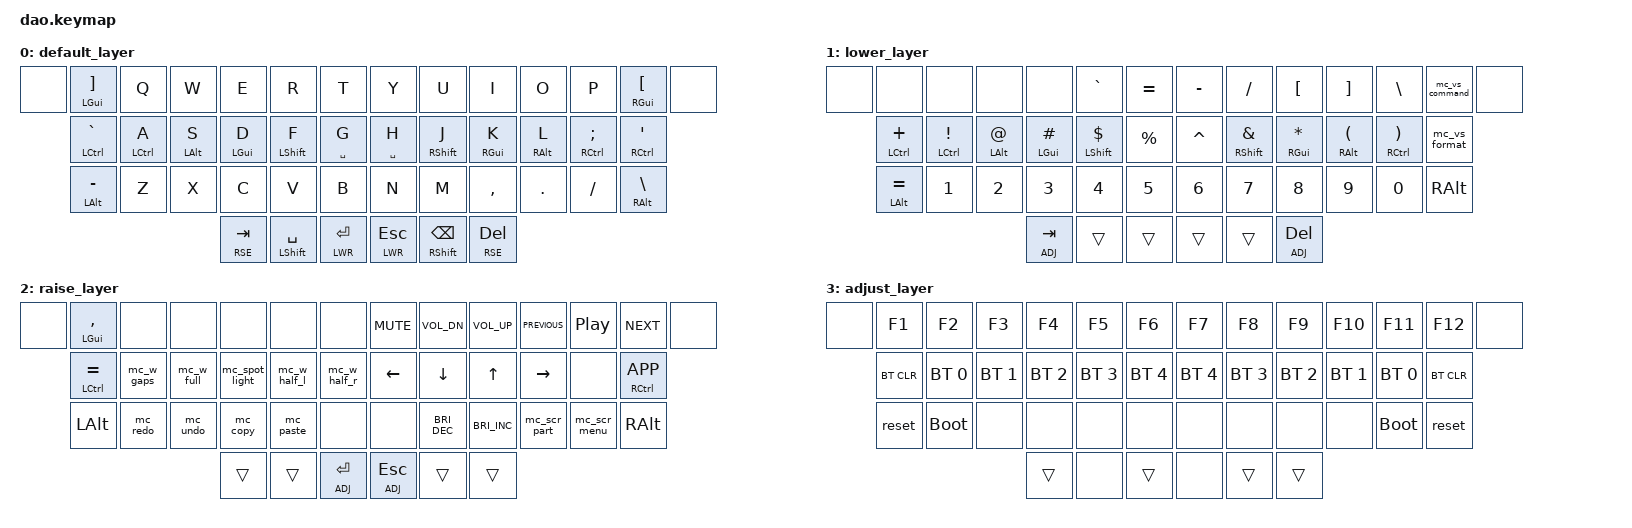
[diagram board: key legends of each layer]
/*
 * Copyright (c) 2021 Rafael Yumagulov
 *
 * SPDX-License-Identifier: MIT
 * vim: syntax=c
 */

#include <behaviors.dtsi>
#include <dt-bindings/zmk/keys.h>
#include <dt-bindings/zmk/bt.h>

#define DEF 0
#define LWR 1
#define RSE 2
#define ADJ 3

&lt { quick_tap_ms = <200>; };
&mt { quick_tap_ms = <200>; };

/ {
        macros {
                mc_copy: copy {
                        label = "copy_macro";
                        compatible = "zmk,behavior-macro";
                        #binding-cells = <0>;
                        bindings 
                                = <&macro_press &kp LGUI>
                                , <&macro_tap &kp C>
                                , <&macro_release &kp LGUI>
                                ;
                };
                mc_paste: paste {
                        label = "paste_macro";
                        compatible = "zmk,behavior-macro";
                        #binding-cells = <0>;
                        bindings 
                                = <&macro_press &kp LGUI>
                                , <&macro_tap &kp V>
                                , <&macro_release &kp LGUI>
                                ;
                };
                mc_undo: undo {
                        label = "undo_macro";
                        compatible = "zmk,behavior-macro";
                        #binding-cells = <0>;
                        bindings 
                                = <&macro_press &kp LGUI>
                                , <&macro_tap &kp Z>
                                , <&macro_release &kp LGUI>
                                ;
                };
                mc_redo: redo {
                        label = "redo_macro";
                        compatible = "zmk,behavior-macro";
                        #binding-cells = <0>;
                        bindings 
                                = <&macro_press &kp LGUI>
                                , <&macro_press &kp LSHIFT>
                                , <&macro_tap &kp Z>
                                , <&macro_release &kp LSHIFT>
                                , <&macro_release &kp LGUI>
                                ;
                };
                mc_spot_light: spot_light {
                        label = "spot_light";
                        compatible = "zmk,behavior-macro";
                        #binding-cells = <0>;
                        bindings 
                                = <&macro_press &kp LALT>
                                , <&macro_tap &kp D>
                                , <&macro_release &kp LALT>
                                ;
                };
                mc_vs_command: vs_command {
                        label = "vs_code_command";
                        compatible = "zmk,behavior-macro";
                        #binding-cells = <0>;
                        bindings 
                                = <&macro_press &kp LGUI>
                                , <&macro_tap &kp P>
                                , <&macro_release &kp LGUI>
                                ;
                };
                mc_vs_format: vs_format {
                        label = "vs_code_format";
                        compatible = "zmk,behavior-macro";
                        #binding-cells = <0>;
                        bindings 
                                = <&macro_press &kp LALT>
                                , <&macro_press &kp LSHIFT>
                                , <&macro_tap &kp F>
                                , <&macro_release &kp LSHIFT>
                                , <&macro_release &kp LALT>
                                ;
                };
                mc_w_half_l: w_half_l {
                        label = "move_win_half_l";
                        compatible = "zmk,behavior-macro";
                        #binding-cells = <0>;
                        bindings
                                = <&macro_press &kp LCTRL>
                                , <&macro_press &kp LALT>
                                , <&macro_tap &kp LEFT>
                                , <&macro_release &kp LALT>
                                , <&macro_release &kp LCTRL>
                                ;
                };
                mc_w_half_r: w_half_r {
                        label = "move_win_half_r";
                        compatible = "zmk,behavior-macro";
                        #binding-cells = <0>;
                        bindings
                                = <&macro_press &kp LCTRL>
                                , <&macro_press &kp LALT>
                                , <&macro_tap &kp RIGHT>
                                , <&macro_release &kp LALT>
                                , <&macro_release &kp LCTRL>
                                ;
                };
                mc_w_full: w_full {
                        label = "move_win_full";
                        compatible = "zmk,behavior-macro";
                        #binding-cells = <0>;
                        bindings
                                = <&macro_press &kp LCTRL>
                                , <&macro_press &kp LALT>
                                , <&macro_tap &kp ENTER>
                                , <&macro_release &kp LALT>
                                , <&macro_release &kp LCTRL>
                                ;
                };
                mc_w_gaps: w_gaps {
                        label = "move_win_gaps";
                        compatible = "zmk,behavior-macro";
                        #binding-cells = <0>;
                        bindings
                                = <&macro_press &kp LCTRL>
                                , <&macro_press &kp LALT>
                                , <&macro_tap &kp A>
                                , <&macro_release &kp LALT>
                                , <&macro_release &kp LCTRL>
                                ;
                };
                mc_scr_part: scr_part {
                        label = "screen_partion";
                        compatible = "zmk,behavior-macro";
                        #binding-cells = <0>;
                        bindings
                                = <&macro_press &kp LGUI>
                                , <&macro_press &kp LSHIFT>
                                , <&macro_tap &kp N4>
                                , <&macro_release &kp LGUI>
                                , <&macro_release &kp LSHIFT>
                                ;
                };
                mc_scr_menu: scr_menu{
                        label = "call_screen_menu";
                        compatible = "zmk,behavior-macro";
                        #binding-cells = <0>;
                        bindings
                                = <&macro_press &kp LGUI>
                                , <&macro_press &kp LSHIFT>
                                , <&macro_tap &kp N5>
                                , <&macro_release &kp LGUI>
                                , <&macro_release &kp LSHIFT>
                                ;
                };
        };
};

/ {
        behaviors {
                hm: homerow_mods {
                        compatible = "zmk,behavior-hold-tap";
                        label = "HOMEROW_MODS";
                        #binding-cells = <2>;
                        tapping-term-ms = <150>;
                        quick-tap-ms = <0>;
                        flavor = "tap-preferred";
                        bindings = <&kp>, <&kp>;
                };
        };
};


/ {
        keymap {
                compatible = "zmk,keymap";

                default_layer {
                        bindings = <
&none   &mt LGUI RBKT     &kp Q           &kp W        &kp E         &kp R             &kp T        /*|*/     &kp Y         &kp U            &kp I         &kp O      &kp P          &mt RGUI LBKT  &none
        &mt LCTRL GRAVE   &hm LCTRL A     &hm LALT S   &hm LGUI D    &hm LSHIFT F      &hm SPACE G  /*|*/     &hm SPACE H   &hm RSHIFT J     &hm RGUI K    &hm RALT L &hm RCTRL SEMI &mt RCTRL SQT
        &mt LALT MINUS    &kp Z           &kp X        &kp C         &kp V             &kp B        /*|*/     &kp N         &kp M            &kp COMMA     &kp DOT    &kp FSLH       &mt RALT BSLH
                                                       &lt RSE TAB   &mt LSHFT SPACE   &lt LWR RET  /*|*/     &lt LWR ESC   &mt RSHFT BSPC   &lt RSE DEL
                        >;
                };
                lower_layer {
                        bindings = <
&none   &none           &none            &none        &none         &kp GRAVE       &kp EQUAL       /*|*/         &kp MINUS   &kp FSLH         &kp LBKT      &kp RBKT      &kp BSLH       &mc_vs_command    &none
        &mt LCTRL PLUS  &hm LCTRL EXCL   &hm LALT AT  &hm LGUI HASH &hm LSHIFT DLLR &kp PRCNT       /*|*/         &kp CARET   &hm RSHIFT AMPS  &hm RGUI STAR &hm RALT LPAR &hm RCTRL RPAR &mc_vs_format
        &mt LALT EQUAL  &kp N1           &kp N2       &kp N3        &kp N4          &kp N5          /*|*/         &kp N6      &kp N7           &kp N8        &kp N9        &kp N0         &kp RALT
                                                      &lt ADJ TAB   &trans          &trans          /*|*/         &trans      &trans           &lt ADJ DEL
                        >;
                };

                raise_layer {
                        bindings = <
&none   &mt LGUI COMMA    &none       &none        &none            &none         &none         /*|*/   &kp C_MUTE     &kp C_VOL_DN     &kp C_VOL_UP   &kp C_PREVIOUS  &kp C_PLAY_PAUSE   &kp C_NEXT       &none
        &mt LCTRL EQUAL   &mc_w_gaps  &mc_w_full   &mc_spot_light   &mc_w_half_l  &mc_w_half_r  /*|*/   &kp LEFT       &kp DOWN         &kp UP         &kp RIGHT       &none              &mt RCTRL  K_APP
        &kp LALT          &mc_redo    &mc_undo     &mc_copy         &mc_paste     &none         /*|*/   &none          &kp C_BRI_DEC   &kp C_BRI_INC  &mc_scr_part    &mc_scr_menu       &kp RALT
                                                   &trans           &trans        &lt ADJ RET   /*|*/   &lt ADJ ESC    &trans     &trans
                        >;
                };
                adjust_layer {
                        bindings = <
&none   &kp F1        &kp F2         &kp F3         &kp F4         &kp F5         &kp F6        /*|*/       &kp F7         &kp F8         &kp F9         &kp F10        &kp F11        &kp F12     &none
        &bt BT_CLR    &bt BT_SEL 0   &bt BT_SEL 1   &bt BT_SEL 2   &bt BT_SEL 3   &bt BT_SEL 4  /*|*/       &bt BT_SEL 4   &bt BT_SEL 3   &bt BT_SEL 2   &bt BT_SEL 1   &bt BT_SEL 0   &bt BT_CLR
        &reset        &bootloader    &none          &none          &none          &none         /*|*/       &none          &none          &none          &none          &bootloader    &reset
                                     &trans         &none          &trans         &none         /*|*/       &trans         &trans
                        >;
                };
        };

};
